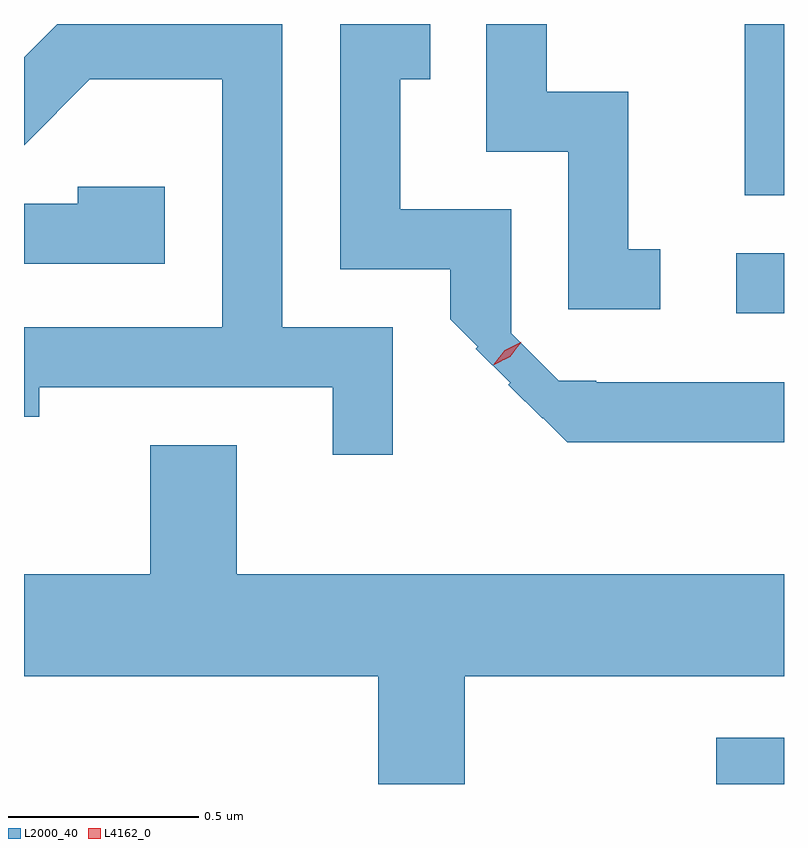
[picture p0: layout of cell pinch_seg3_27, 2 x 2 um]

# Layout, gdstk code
import gdstk
lib = gdstk.Library(unit=1e-6, precision=1e-09)
def R(c, l, rs):  # rectangles x0, y0, x1, y1
    for r in rs: c.add(gdstk.rectangle(r[:2], r[2:], *l))
def P(c, l, *ps):  # polygons
    for p in ps: c.add(gdstk.Polygon(p, *l))
L2000_40 = (2000, 40)
L4162_0 = (4162, 0)

pinch_seg3_27 = lib.new_cell('pinch_seg3_27')
R(pinch_seg3_27, L2000_40, [(827.541,1167.912,827.719,1168.034), (827.593,1169.151,827.719,1169.309), (827.616,1169.461,827.719,1169.912)])
P(pinch_seg3_27, L2000_40, [(827.393,1169.319),(827.309,1169.319),(827.309,1169.734),(827.094,1169.734),(827.094,1169.912),(826.936,1169.912),(826.936,1169.576),(827.151,1169.576),(827.151,1169.161),(827.393,1169.161)],
  [(827.719,1168.969),(827.225,1168.969),(827.225,1168.973),(827.126,1168.973),(827.001,1169.098),(827.001,1169.424),(826.709,1169.424),(826.709,1169.766),(826.788,1169.766),(826.788,1169.912),(826.551,1169.912),(826.551,1169.266),(826.841,1169.266),(826.841,1169.135),(826.913,1169.063),(826.908,1169.058),(826.998,1168.968),(826.993,1168.963),(827.083,1168.874),(827.085,1168.875),(827.149,1168.811),(827.719,1168.811)],
  [(826.689,1169.114),(826.399,1169.114),(826.399,1169.912),(825.807,1169.912),(825.719,1169.824),(825.719,1169.593),(825.892,1169.766),(826.241,1169.766),(826.241,1169.114),(825.719,1169.114),(825.719,1168.878),(825.759,1168.878),(825.759,1168.956),(826.531,1168.956),(826.531,1168.778),(826.689,1168.778)],
  [(826.089,1169.484),(825.861,1169.484),(825.861,1169.439),(825.719,1169.439),(825.719,1169.281),(826.089,1169.281)],
  [(826.879,1168.196),(827.719,1168.196),(827.719,1168.464),(826.279,1168.464),(826.279,1168.804),(826.051,1168.804),(826.051,1168.464),(825.719,1168.464),(825.719,1168.196),(826.651,1168.196),(826.651,1167.912),(826.879,1167.912)])
P(pinch_seg3_27, L4162_0, [(826.955,1169.015),(826.955,1169.016),(826.984,1169.053),(827.026,1169.075),(827.027,1169.075),(827.027,1169.074),(826.997,1169.037),(826.956,1169.015)],
  [(826.96,1169.018),(826.96,1169.019),(826.985,1169.052),(827.022,1169.07),(827.023,1169.07),(827.023,1169.07),(826.998,1169.036),(826.96,1169.018)])

lib.write_gds('pinch_seg3_27.gds')
